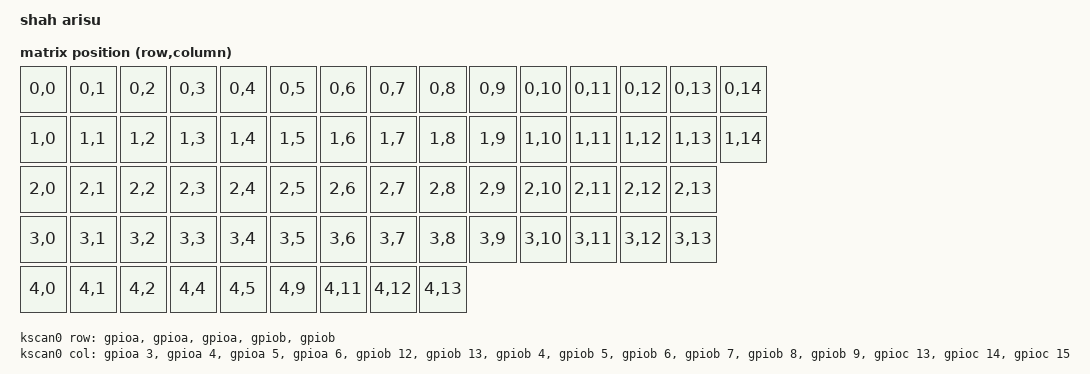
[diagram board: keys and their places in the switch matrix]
/*
 * Copyright (c) 2020 The ZMK Contributors
 *
 * SPDX-License-Identifier: MIT
 */

/dts-v1/;
#include <st/f1/stm32f103Xb.dtsi>
#include <st/f1/stm32f103c(8-b)tx-pinctrl.dtsi>
#include <dt-bindings/zmk/matrix_transform.h>

/ {
	model = "shah arisu";
	compatible = "st,stm32f103";

	chosen {
		zephyr,sram = &sram0;
		zephyr,flash = &flash0;
		zephyr,console = &cdc_acm_uart;
		zmk,kscan = &kscan0;
		zmk,matrix_transform = &default_transform;
		zephyr,code-partition = &code_partition;
	};

kscan0:
	kscan {
		compatible = "zmk,kscan-gpio-matrix";
		label = "KSCAN";
		diode-direction = "col2row";
		row-gpios 
			= <&gpioa 10(GPIO_ACTIVE_HIGH | GPIO_PULL_DOWN)>,
			  <&gpioa 9(GPIO_ACTIVE_HIGH | GPIO_PULL_DOWN)>,
			  <&gpioa 8(GPIO_ACTIVE_HIGH | GPIO_PULL_DOWN)>,
			  <&gpiob 15(GPIO_ACTIVE_HIGH | GPIO_PULL_DOWN)>,
			  <&gpiob 14(GPIO_ACTIVE_HIGH | GPIO_PULL_DOWN)>;
		col-gpios 
			= <&gpioa 3 GPIO_ACTIVE_HIGH>, 
			  <&gpioa 4 GPIO_ACTIVE_HIGH>,
			  <&gpioa 5 GPIO_ACTIVE_HIGH>,
			  <&gpioa 6 GPIO_ACTIVE_HIGH>, 
			  <&gpiob 12 GPIO_ACTIVE_HIGH>,
			  <&gpiob 13 GPIO_ACTIVE_HIGH>,
			  <&gpiob 4 GPIO_ACTIVE_HIGH>, 
			  <&gpiob 5 GPIO_ACTIVE_HIGH>,
			  <&gpiob 6 GPIO_ACTIVE_HIGH>,
			  <&gpiob 7 GPIO_ACTIVE_HIGH>, 
			  <&gpiob 8 GPIO_ACTIVE_HIGH>,
			  <&gpiob 9 GPIO_ACTIVE_HIGH>,
			  <&gpioc 13 GPIO_ACTIVE_HIGH>, 
			  <&gpioc 14 GPIO_ACTIVE_HIGH>,
			  <&gpioc 15 GPIO_ACTIVE_HIGH>;
	};

default_transform:
	keymap_transform_0 {
		compatible = "zmk,matrix-transform";
		columns = <15>;
		rows = <5>;
		map = <
		RC(0,0) RC(0,1) RC(0,2) RC(0,3) RC(0,4) RC(0,5) RC(0,6) RC(0,7) RC(0,8) RC(0,9) RC(0,10) RC(0,11) RC(0,12) RC(0,13) RC(0,14)
		RC(1,0) RC(1,1) RC(1,2) RC(1,3) RC(1,4) RC(1,5) RC(1,6) RC(1,7) RC(1,8) RC(1,9) RC(1,10) RC(1,11) RC(1,12) RC(1,13) RC(1,14)
		RC(2,0) RC(2,1) RC(2,2) RC(2,3) RC(2,4) RC(2,5) RC(2,6) RC(2,7) RC(2,8) RC(2,9) RC(2,10) RC(2,11) RC(2,12) RC(2,13)
		RC(3,0) RC(3,1) RC(3,2) RC(3,3) RC(3,4) RC(3,5) RC(3,6) RC(3,7) RC(3,8) RC(3,9) RC(3,10) RC(3,11) RC(3,12) RC(3,13)
		RC(4,0) RC(4,1) RC(4,2) RC(4,4) RC(4,5) RC(4,9) RC(4,11) RC(4,12) RC(4,13)
		>;
	};
};

&usb {
	pinctrl-0 = <&usb_dm_pa11 &usb_dp_pa12>;
	pinctrl-names = "default";
	status = "okay";
cdc_acm_uart:
	cdc_acm_uart {
		compatible = "zephyr,cdc-acm-uart";
		label = "CDC_ACM_0";
	};
};

&clk_hse {
	status = "okay";
	clock-frequency = <DT_FREQ_M(12)>;
	// changed from 8 to 12 due to fastel crystal
};

&pll {
	//prediv = <1>; // do i need this?
	mul = <6>;
	// change the PLL to 6, down from the default of 9 due to faster crystal oscillator
	clocks = <&clk_hse>;
	status = "okay";
};

&rcc {
	clocks = <&pll>;
	clock-frequency = <DT_FREQ_M(72)>;
	ahb-prescaler = <1>;
	apb1-prescaler = <2>;
	apb2-prescaler = <1>;
};

&flash0 {
	partitions {
		compatible = "fixed-partitions";
		#address-cells = <1>;
		#size-cells = <1>;

		boot_partition: partition@0 {
                        reg = <0x00000000 0x2000>;
                        read-only;
                };

                code_partition: partition@2000 {
                        label = "code";
                        reg = <0x2000 0x010000>;
						read-only;
                };

                /*
                * The final 16 KiB is reserved for the application.
                * Storage partition will be used by FCB/LittleFS/NVS
                * if enabled.
                */
                storage_partition: partition@12000 {
                        label = "storage";
                        reg = <0x0012000 0x00004000>;
                };

	};
};
